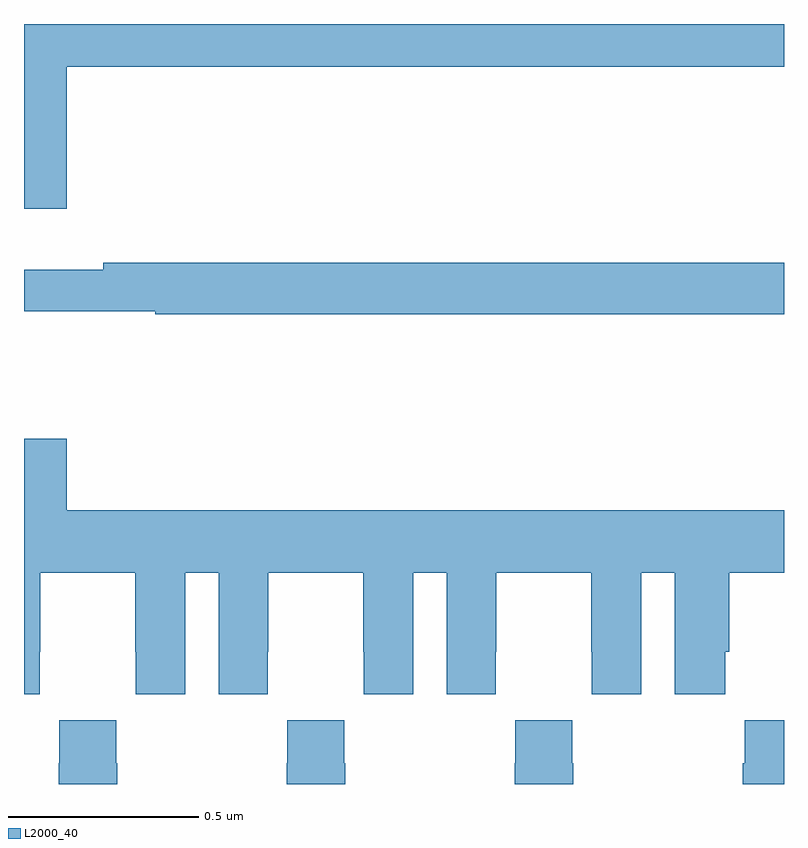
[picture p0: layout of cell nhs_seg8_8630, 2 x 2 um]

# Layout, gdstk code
import gdstk
lib = gdstk.Library(unit=1e-6, precision=1e-09)
def P(c, l, *ps):  # polygons
    for p in ps: c.add(gdstk.Polygon(p, *l))
L2000_40 = (2000, 40)

nhs_seg8_8630 = lib.new_cell('nhs_seg8_8630')
P(nhs_seg8_8630, L2000_40, [(225.112,1161.788),(227,1161.788),(227,1161.9),(225,1161.9),(225,1161.414),(225.112,1161.414)],
  [(227,1161.272),(225.208,1161.272),(225.208,1161.253),(225,1161.253),(225,1161.144),(225.345,1161.144),(225.345,1161.136),(227,1161.136)],
  [(225,1160.136),(225.042,1160.136),(225.042,1160.248),(225.043,1160.248),(225.043,1160.456),(225.293,1160.456),(225.293,1160.248),(225.294,1160.248),(225.294,1160.136),(225.424,1160.136),(225.424,1160.456),(225.512,1160.456),(225.512,1160.136),(225.642,1160.136),(225.642,1160.248),(225.643,1160.248),(225.643,1160.456),(225.893,1160.456),(225.893,1160.248),(225.894,1160.248),(225.894,1160.136),(226.024,1160.136),(226.024,1160.456),(226.112,1160.456),(226.112,1160.136),(226.242,1160.136),(226.242,1160.248),(226.243,1160.248),(226.243,1160.456),(226.493,1160.456),(226.493,1160.248),(226.494,1160.248),(226.494,1160.136),(226.624,1160.136),(226.624,1160.456),(226.712,1160.456),(226.712,1160.136),(226.846,1160.136),(226.846,1160.248),(226.856,1160.248),(226.856,1160.456),(227,1160.456),(227,1160.62),(225.112,1160.62),(225.112,1160.809),(225,1160.809)],
  [(227,1160.068),(226.897,1160.068),(226.897,1159.955),(226.891,1159.955),(226.891,1159.9),(227,1159.9)],
  [(226.446,1159.955),(226.443,1159.955),(226.443,1160.068),(226.293,1160.068),(226.293,1159.955),(226.291,1159.955),(226.291,1159.9),(226.446,1159.9)],
  [(225.846,1159.955),(225.843,1159.955),(225.843,1160.068),(225.693,1160.068),(225.693,1159.955),(225.691,1159.955),(225.691,1159.9),(225.846,1159.9)],
  [(225.246,1159.955),(225.243,1159.955),(225.243,1160.068),(225.093,1160.068),(225.093,1159.955),(225.091,1159.955),(225.091,1159.9),(225.246,1159.9)])

lib.write_gds('nhs_seg8_8630.gds')
